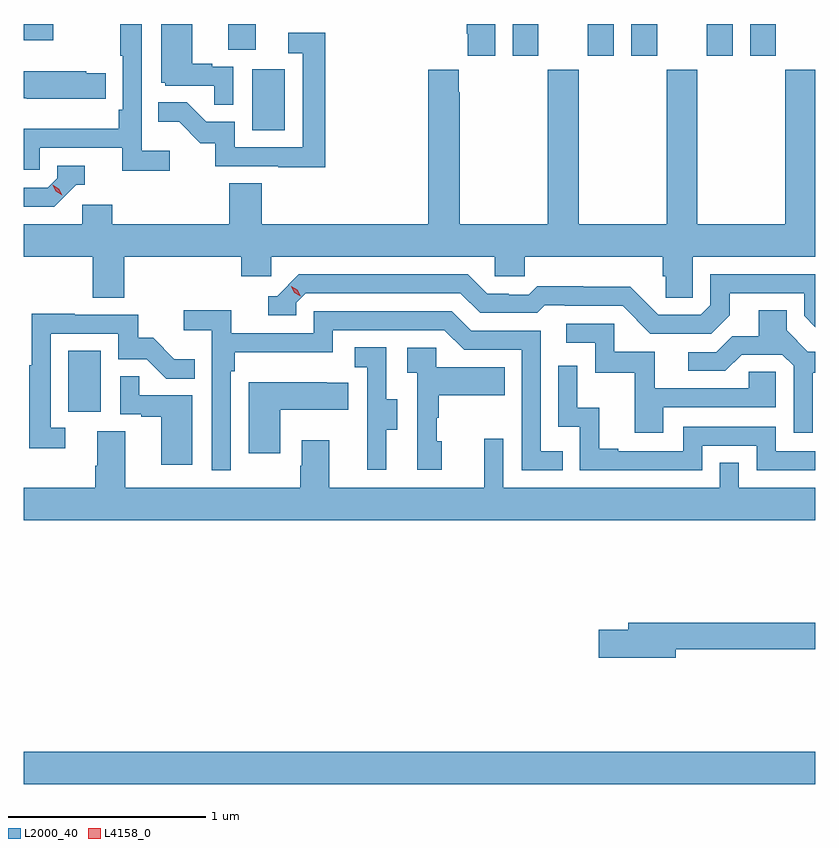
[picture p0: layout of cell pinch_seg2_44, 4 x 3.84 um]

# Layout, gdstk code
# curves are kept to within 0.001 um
import gdstk
lib = gdstk.Library(unit=1e-6, precision=1e-09)
def R(c, l, rs):  # rectangles x0, y0, x1, y1
    for r in rs: c.add(gdstk.rectangle(r[:2], r[2:], *l))
def P(c, l, *ps):  # polygons
    for p in ps: c.add(gdstk.Polygon(p, *l))
L2000_40 = (2000, 40)
L4158_0 = (4158, 0)

pinch_seg2_44 = lib.new_cell('pinch_seg2_44')
R(pinch_seg2_44, L2000_40, [(1068.856,652.964,1072.856,653.128), (1069.082,654.846,1069.246,655.153), (1070.012,656.268,1070.176,656.575), (1071.326,656.643,1071.457,656.804), (1071.707,656.643,1071.838,656.804), (1071.926,656.643,1072.057,656.804), (1072.307,656.643,1072.438,656.804), (1072.526,656.643,1072.657,656.804), (1069.889,656.674,1070.029,656.804), (1068.857,656.721,1069.005,656.804)])
P(pinch_seg2_44, L2000_40, [(1069.914,656.589),(1069.808,656.589),(1069.808,656.602),(1069.708,656.602),(1069.708,656.804),(1069.55,656.804),(1069.55,656.508),(1069.572,656.508),(1069.572,656.493),(1069.819,656.493),(1069.819,656.395),(1069.914,656.395)],
  [(1071.238,656.804),(1071.095,656.804),(1071.095,656.755),(1071.101,656.755),(1071.101,656.643),(1071.238,656.643)],
  [(1069.594,656.164),(1069.452,656.164),(1069.452,656.804),(1069.344,656.804),(1069.344,656.644),(1069.356,656.644),(1069.356,656.371),(1069.336,656.371),(1069.336,656.275),(1068.856,656.275),(1068.856,656.067),(1068.936,656.067),(1068.936,656.178),(1069.355,656.178),(1069.355,656.062),(1069.594,656.062)],
  [(1070.381,656.761),(1070.193,656.761),(1070.193,656.655),(1070.265,656.655),(1070.265,656.181),(1069.923,656.181),(1069.923,656.31),(1069.779,656.31),(1069.681,656.408),(1069.537,656.408),(1069.537,656.309),(1069.641,656.309),(1069.748,656.202),(1069.825,656.202),(1069.825,656.085),(1070.143,656.085),(1070.143,656.08),(1070.381,656.08)],
  [(1070.106,655.628),(1071.237,655.628),(1071.237,655.53),(1071.387,655.53),(1071.387,655.628),(1072.085,655.628),(1072.085,655.53),(1072.099,655.53),(1072.099,655.42),(1072.236,655.42),(1072.236,655.628),(1072.856,655.628),(1072.856,656.572),(1072.705,656.572),(1072.705,655.792),(1072.26,655.792),(1072.26,656.572),(1072.105,656.572),(1072.105,655.792),(1071.66,655.792),(1071.66,656.572),(1071.505,656.572),(1071.505,655.792),(1071.06,655.792),(1071.06,656.459),(1071.055,656.459),(1071.055,656.572),(1070.9,656.572),(1070.9,655.792),(1070.06,655.792),(1070.06,656),(1069.895,656),(1069.895,655.792),(1069.304,655.792),(1069.304,655.89),(1069.152,655.89),(1069.152,655.792),(1068.856,655.792),(1068.856,655.628),(1069.204,655.628),(1069.204,655.42),(1069.364,655.42),(1069.364,655.628),(1069.955,655.628),(1069.955,655.53),(1070.106,655.53)],
  [(1069.271,656.556),(1069.173,656.556),(1069.173,656.566),(1068.856,656.566),(1068.856,656.429),(1068.871,656.429),(1068.871,656.426),(1069.271,656.426)],
  [(1069.122,655.992),(1069.165,655.992),(1069.165,656.088),(1069.026,656.088),(1069.026,656.025),(1068.978,655.977),(1068.856,655.977),(1068.856,655.881),(1069.011,655.881)],
  [(1072.423,655.333),(1072.423,655.443),(1072.8,655.443),(1072.8,655.329),(1072.856,655.273),(1072.856,655.539),(1072.326,655.539),(1072.326,655.383),(1072.278,655.335),(1072.062,655.335),(1071.92,655.477),(1071.684,655.477),(1071.684,655.48),(1071.451,655.48),(1071.409,655.437),(1071.306,655.437),(1071.306,655.44),(1071.199,655.44),(1071.1,655.539),(1070.247,655.539),(1070.136,655.428),(1070.093,655.428),(1070.093,655.332),(1070.232,655.332),(1070.232,655.395),(1070.28,655.443),(1071.063,655.443),(1071.162,655.344),(1071.451,655.344),(1071.49,655.383),(1071.589,655.383),(1071.589,655.38),(1071.882,655.38),(1072.023,655.239),(1072.329,655.239)],
  [(1072.843,655.041),(1072.855,655.041),(1072.856,655.149),(1072.818,655.149),(1072.711,655.256),(1072.711,655.358),(1072.571,655.358),(1072.571,655.226),(1072.436,655.226),(1072.356,655.146),(1072.215,655.146),(1072.215,655.053),(1072.402,655.053),(1072.483,655.134),(1072.689,655.134),(1072.746,655.077),(1072.746,654.738),(1072.843,654.738)],
  [(1069.902,655.049),(1069.922,655.049),(1069.922,655.145),(1070.418,655.145),(1070.418,655.257),(1070.982,655.257),(1071.081,655.158),(1071.372,655.158),(1071.372,654.549),(1071.581,654.549),(1071.581,654.645),(1071.468,654.645),(1071.468,655.254),(1071.118,655.254),(1071.019,655.353),(1070.322,655.353),(1070.322,655.242),(1069.904,655.242),(1069.904,655.358),(1069.665,655.358),(1069.665,655.256),(1069.806,655.256),(1069.806,654.549),(1069.902,654.549)],
  [(1069.066,654.765),(1068.993,654.765),(1068.993,655.239),(1069.335,655.239),(1069.335,655.11),(1069.479,655.11),(1069.577,655.012),(1069.721,655.012),(1069.721,655.111),(1069.617,655.111),(1069.51,655.218),(1069.434,655.218),(1069.434,655.335),(1069.115,655.335),(1069.115,655.34),(1068.897,655.34),(1068.897,655.079),(1068.885,655.079),(1068.885,654.66),(1069.066,654.66)],
  [(1072.087,654.867),(1072.656,654.867),(1072.656,655.047),(1072.519,655.047),(1072.519,654.963),(1072.045,654.963),(1072.045,655.149),(1071.84,655.149),(1071.84,655.29),(1071.597,655.29),(1071.597,655.194),(1071.744,655.194),(1071.744,655.041),(1071.943,655.041),(1071.943,654.738),(1072.087,654.738)],
  [(1070.689,654.754),(1070.743,654.754),(1070.743,654.909),(1070.688,654.909),(1070.688,655.172),(1070.529,655.172),(1070.529,655.069),(1070.592,655.069),(1070.592,654.765),(1070.591,654.765),(1070.591,654.552),(1070.689,654.552)],
  [(1070.968,654.696),(1070.943,654.696),(1070.943,654.815),(1070.953,654.815),(1070.953,654.929),(1071.287,654.929),(1071.287,655.069),(1070.94,655.069),(1070.94,655.167),(1070.793,655.167),(1070.793,655.043),(1070.844,655.043),(1070.844,654.552),(1070.968,654.552)],
  [(1072.284,654.672),(1072.56,654.672),(1072.56,654.549),(1072.856,654.549),(1072.856,654.645),(1072.656,654.645),(1072.656,654.768),(1072.188,654.768),(1072.188,654.645),(1071.859,654.645),(1071.859,654.658),(1071.764,654.658),(1071.764,654.866),(1071.654,654.866),(1071.654,655.078),(1071.558,655.078),(1071.558,654.768),(1071.666,654.768),(1071.666,654.549),(1072.284,654.549)],
  [(1069.708,654.927),(1069.439,654.927),(1069.439,655.025),(1069.344,655.025),(1069.344,654.831),(1069.451,654.831),(1069.451,654.819),(1069.55,654.819),(1069.55,654.576),(1069.708,654.576)],
  [(1070.152,654.854),(1070.495,654.854),(1070.495,654.991),(1070.387,654.991),(1070.387,654.994),(1069.994,654.994),(1069.994,654.636),(1070.152,654.636)],
  [(1069.229,654.746),(1069.229,654.572),(1069.217,654.572),(1069.217,654.46),(1068.856,654.46),(1068.856,654.296),(1072.856,654.296),(1072.856,654.46),(1072.47,654.46),(1072.47,654.587),(1072.374,654.587),(1072.374,654.46),(1071.279,654.46),(1071.279,654.709),(1071.182,654.709),(1071.182,654.46),(1070.401,654.46),(1070.401,654.7),(1070.261,654.7),(1070.261,654.572),(1070.254,654.572),(1070.254,654.46),(1069.369,654.46),(1069.369,654.746)],
  [(1072.15,653.644),(1072.856,653.644),(1072.856,653.78),(1071.911,653.78),(1071.911,653.744),(1071.762,653.744),(1071.762,653.602),(1072.15,653.602)])
P(pinch_seg2_44, L4158_0, [(1070.255,655.428),(1070.224,655.447),(1070.208,655.48),(1070.208,655.48),(1070.208,655.48),(1070.239,655.461),(1070.255,655.429),(1070.255,655.428)],
  [(1069.05,655.94),(1069.019,655.959),(1069.002,655.992),(1069.002,655.992),(1069.003,655.992),(1069.034,655.972),(1069.05,655.94),(1069.05,655.94)])

lib.write_gds('pinch_seg2_44.gds')
